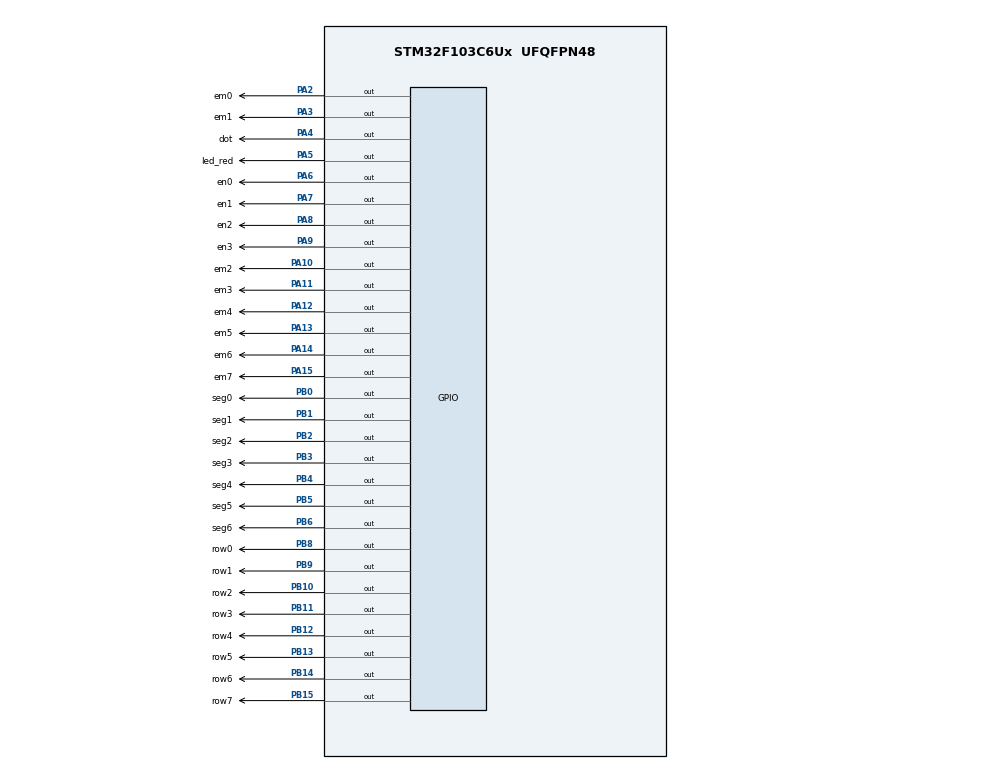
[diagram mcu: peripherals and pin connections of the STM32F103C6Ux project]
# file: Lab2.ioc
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Mcu.Family=STM32F1
Mcu.Name=STM32F103C6Ux
Mcu.Package=UFQFPN48
NVIC.PriorityGroup=NVIC_PRIORITYGROUP_4
NVIC.TIM2_IRQn=true\:0\:0\:false\:false\:true\:true\:true
PA10.GPIO_Label=em2
PA10.Signal=GPIO_Output
PA11.GPIO_Label=em3
PA11.Signal=GPIO_Output
PA12.GPIO_Label=em4
PA12.Signal=GPIO_Output
PA13.GPIO_Label=em5
PA13.Signal=GPIO_Output
PA14.GPIO_Label=em6
PA14.Signal=GPIO_Output
PA15.GPIO_Label=em7
PA15.Signal=GPIO_Output
PA2.GPIO_Label=em0
PA2.Signal=GPIO_Output
PA3.GPIO_Label=em1
PA3.Signal=GPIO_Output
PA4.GPIO_Label=dot
PA4.Signal=GPIO_Output
PA5.GPIO_Label=led_red
PA5.Signal=GPIO_Output
PA6.GPIO_Label=en0
PA6.Signal=GPIO_Output
PA7.GPIO_Label=en1
PA7.Signal=GPIO_Output
PA8.GPIO_Label=en2
PA8.Signal=GPIO_Output
PA9.GPIO_Label=en3
PA9.Signal=GPIO_Output
PB0.GPIO_Label=seg0
PB0.Signal=GPIO_Output
PB1.GPIO_Label=seg1
PB1.Signal=GPIO_Output
PB10.GPIO_Label=row2
PB10.Signal=GPIO_Output
PB11.GPIO_Label=row3
PB11.Signal=GPIO_Output
PB12.GPIO_Label=row4
PB12.Signal=GPIO_Output
PB13.GPIO_Label=row5
PB13.Signal=GPIO_Output
PB14.GPIO_Label=row6
PB14.Signal=GPIO_Output
PB15.GPIO_Label=row7
PB15.Signal=GPIO_Output
PB2.GPIO_Label=seg2
PB2.Signal=GPIO_Output
PB3.GPIO_Label=seg3
PB3.Signal=GPIO_Output
PB4.GPIO_Label=seg4
PB4.Signal=GPIO_Output
PB5.GPIO_Label=seg5
PB5.Signal=GPIO_Output
PB6.GPIO_Label=seg6
PB6.Signal=GPIO_Output
PB8.GPIO_Label=row0
PB8.Signal=GPIO_Output
PB9.GPIO_Label=row1
PB9.Signal=GPIO_Output
ProjectManager.HeapSize=0x200
ProjectManager.StackSize=0x400
ProjectManager.TargetToolchain=STM32CubeIDE
RCC.APB1Freq_Value=8000000
RCC.APB2Freq_Value=8000000
TIM2.Period=9
TIM2.Prescaler=7999
VP_SYS_VS_ND.Mode=No_Debug
VP_TIM2_VS_ClockSourceINT.Mode=Internal
board=custom

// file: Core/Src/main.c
/* USER CODE BEGIN Header */
/**
  ******************************************************************************
  * @file           : main.c
  * @brief          : Main program body
  ******************************************************************************
  * @attention
  *
  * <h2><center>&copy; Copyright (c) 2024 STMicroelectronics.
  * All rights reserved.</center></h2>
  *
  * This software component is licensed by ST under BSD 3-Clause license,
  * the "License"; You may not use this file except in compliance with the
  * License. You may obtain a copy of the License at:
  *                        opensource.org/licenses/BSD-3-Clause
  *
  ******************************************************************************
  */
/* USER CODE END Header */
#include "main.h"

/* USER CODE BEGIN Includes */
#include "functions.h"
#include "software_timer.h"
/* USER CODE END Includes */

TIM_HandleTypeDef htim2;

void SystemClock_Config(void);
static void MX_GPIO_Init(void);
static void MX_TIM2_Init(void);

int main(void)
{

  /* MCU Configuration--------------------------------------------------------*/

  /* Reset of all peripherals, Initializes the Flash interface and the Systick. */
  HAL_Init();

  /* Configure the system clock */
  SystemClock_Config();

  /* Initialize all configured peripherals */
  MX_GPIO_Init();
  MX_TIM2_Init();
  /* USER CODE BEGIN 2 */
  display7seg(0, 0);
  HAL_TIM_Base_Start_IT(&htim2);

  int index = 0;
  int hour = 12, min = 38, sec = 55;
  int TIMEstate = 0;
  int index_matrix = 0;
  int count_dot = 0;
  setTimer1(250);
  int bufferClock[4] = {0,0,0,0};
  updateClockBuffer(bufferClock, hour, min, sec);
  display7seg(0, bufferClock[0]);
  index++;

  setTimer3(20);

//  setTimer(1000);

  /* USER CODE END 2 */

  /* Infinite loop */
  /* USER CODE BEGIN WHILE */
//  setTimer(1000);
  while (1)
  {
///////////////////////////////////////////////////////////////begin of exercise 6////////////////////////////////////////////////////////////////////
//
//	if(timer0_flag == 1){
//		HAL_GPIO_TogglePin(GPIOA, GPIO_PIN_5);
//		setTimer0(2000);
//	  }
//
///////////////////////////////////////////////////////////////begin of exercise 6////////////////////////////////////////////////////////////////////

/////////////////////////////////////////////////////////////begin of exercise 7-8////////////////////////////////////////////////////////////////////
//
//	  if (count_dot == 2)
//	  {
//		  // LED & DOT
//		  HAL_GPIO_TogglePin(GPIOA, GPIO_PIN_4);
//		  HAL_GPIO_TogglePin(GPIOA, GPIO_PIN_5);
//		  count_dot = 0;
//	  }
//
//
//	  if (flags[1] == 1)
//	  {
//		  clearLED();
//		  display7seg(index, bufferClock[index]);
//		  index++;
//		  count_dot++;
//		  setTimer1(250);
//	  }
//
//	  switch(TIMEstate)
//	  {
//		  case 0:
//			  sec++;
//			  setTimer0(1000);
//			  TIMEstate = 1;
//			  break;
//		  case 1:
//			  if (flags[0] == 1)
//			  {
//				  if (sec >= 60)
//				  {
//					  sec = 0;
//					  min++;
//				  }
//				  if (min >= 60)
//				  {
//					  min = 0;
//					  hour++;
//				  }
//				  if (hour >= 24)
//				  {
//					  hour = 0;
//				  }
//				  TIMEstate = 0;
//			  }
//			  break;
//	  }
//
//	  updateClockBuffer(bufferClock, hour, min, sec);
//
//	  if (index >= 4) index = 0;

/////////////////////////////////////////////////////////////end of exercise 7-8////////////////////////////////////////////////////////////////////

/////////////////////////////////////////////////////////////begin of exercise 9-10////////////////////////////////////////////////////////////////////

	  if (flags[3] == 1)
	  {
		  updateLEDMatrix(index_matrix);
		  index_matrix ++;
		  setTimer3(20);
	  }
	  if (index_matrix >= 8 )
	  {
//		  shiftLeft(matrix_buffer);
		  index_matrix = 0;
	  }

/////////////////////////////////////////////////////////////begin of exercise 9-10////////////////////////////////////////////////////////////////////
    /* USER CODE END WHILE */

  }
}

void SystemClock_Config(void)
{
  RCC_OscInitTypeDef RCC_OscInitStruct = {0};
  RCC_ClkInitTypeDef RCC_ClkInitStruct = {0};

  /** Initializes the RCC Oscillators according to the specified parameters
  * in the RCC_OscInitTypeDef structure.
  */
  RCC_OscInitStruct.OscillatorType = RCC_OSCILLATORTYPE_HSI;
  RCC_OscInitStruct.HSIState = RCC_HSI_ON;
  RCC_OscInitStruct.HSICalibrationValue = RCC_HSICALIBRATION_DEFAULT;
  RCC_OscInitStruct.PLL.PLLState = RCC_PLL_NONE;
  if (HAL_RCC_OscConfig(&RCC_OscInitStruct) != HAL_OK)
  {
    Error_Handler();
  }
  /** Initializes the CPU, AHB and APB buses clocks
  */
  RCC_ClkInitStruct.ClockType = RCC_CLOCKTYPE_HCLK|RCC_CLOCKTYPE_SYSCLK
                              |RCC_CLOCKTYPE_PCLK1|RCC_CLOCKTYPE_PCLK2;
  RCC_ClkInitStruct.SYSCLKSource = RCC_SYSCLKSOURCE_HSI;
  RCC_ClkInitStruct.AHBCLKDivider = RCC_SYSCLK_DIV1;
  RCC_ClkInitStruct.APB1CLKDivider = RCC_HCLK_DIV1;
  RCC_ClkInitStruct.APB2CLKDivider = RCC_HCLK_DIV1;

  if (HAL_RCC_ClockConfig(&RCC_ClkInitStruct, FLASH_LATENCY_0) != HAL_OK)
  {
    Error_Handler();
  }
}

static void MX_TIM2_Init(void)
{

  TIM_ClockConfigTypeDef sClockSourceConfig = {0};
  TIM_MasterConfigTypeDef sMasterConfig = {0};

  htim2.Instance = TIM2;
  htim2.Init.Prescaler = 7999;
  htim2.Init.CounterMode = TIM_COUNTERMODE_UP;
  htim2.Init.Period = 9;
  htim2.Init.ClockDivision = TIM_CLOCKDIVISION_DIV1;
  htim2.Init.AutoReloadPreload = TIM_AUTORELOAD_PRELOAD_DISABLE;
  if (HAL_TIM_Base_Init(&htim2) != HAL_OK)
  {
    Error_Handler();
  }
  sClockSourceConfig.ClockSource = TIM_CLOCKSOURCE_INTERNAL;
  if (HAL_TIM_ConfigClockSource(&htim2, &sClockSourceConfig) != HAL_OK)
  {
    Error_Handler();
  }
  sMasterConfig.MasterOutputTrigger = TIM_TRGO_RESET;
  sMasterConfig.MasterSlaveMode = TIM_MASTERSLAVEMODE_DISABLE;
  if (HAL_TIMEx_MasterConfigSynchronization(&htim2, &sMasterConfig) != HAL_OK)
  {
    Error_Handler();
  }

}

static void MX_GPIO_Init(void)
{
  GPIO_InitTypeDef GPIO_InitStruct = {0};

  /* GPIO Ports Clock Enable */
  __HAL_RCC_GPIOA_CLK_ENABLE();
  __HAL_RCC_GPIOB_CLK_ENABLE();

  /*Configure GPIO pin Output Level */
  HAL_GPIO_WritePin(GPIOA, em0_Pin|em1_Pin|dot_Pin|led_red_Pin
                          |en0_Pin|en1_Pin|en2_Pin|en3_Pin
                          |em2_Pin|em3_Pin|em4_Pin|em5_Pin
                          |em6_Pin|em7_Pin, GPIO_PIN_RESET);

  /*Configure GPIO pin Output Level */
  HAL_GPIO_WritePin(GPIOB, seg0_Pin|seg1_Pin|seg2_Pin|row2_Pin
                          |row3_Pin|row4_Pin|row5_Pin|row6_Pin
                          |row7_Pin|seg3_Pin|seg4_Pin|seg5_Pin
                          |seg6_Pin|row0_Pin|row1_Pin, GPIO_PIN_RESET);

  /*Configure GPIO pins : em0_Pin em1_Pin dot_Pin led_red_Pin
                           en0_Pin en1_Pin en2_Pin en3_Pin
                           em2_Pin em3_Pin em4_Pin em5_Pin
                           em6_Pin em7_Pin */
  GPIO_InitStruct.Pin = em0_Pin|em1_Pin|dot_Pin|led_red_Pin
                          |en0_Pin|en1_Pin|en2_Pin|en3_Pin
                          |em2_Pin|em3_Pin|em4_Pin|em5_Pin
                          |em6_Pin|em7_Pin;
  GPIO_InitStruct.Mode = GPIO_MODE_OUTPUT_PP;
  GPIO_InitStruct.Pull = GPIO_NOPULL;
  GPIO_InitStruct.Speed = GPIO_SPEED_FREQ_LOW;
  HAL_GPIO_Init(GPIOA, &GPIO_InitStruct);

  /*Configure GPIO pins : seg0_Pin seg1_Pin seg2_Pin row2_Pin
                           row3_Pin row4_Pin row5_Pin row6_Pin
                           row7_Pin seg3_Pin seg4_Pin seg5_Pin
                           seg6_Pin row0_Pin row1_Pin */
  GPIO_InitStruct.Pin = seg0_Pin|seg1_Pin|seg2_Pin|row2_Pin
                          |row3_Pin|row4_Pin|row5_Pin|row6_Pin
                          |row7_Pin|seg3_Pin|seg4_Pin|seg5_Pin
                          |seg6_Pin|row0_Pin|row1_Pin;
  GPIO_InitStruct.Mode = GPIO_MODE_OUTPUT_PP;
  GPIO_InitStruct.Pull = GPIO_NOPULL;
  GPIO_InitStruct.Speed = GPIO_SPEED_FREQ_LOW;
  HAL_GPIO_Init(GPIOB, &GPIO_InitStruct);

}

/* USER CODE BEGIN 4 */

///////////////////////////////////////////// begin of ex1///////////////////////////////////////////////////////////
//int counter = 100, nth = 0;
//int buffer[2] = {1, 2};
//
//void HAL_TIM_PeriodElapsedCallback (TIM_HandleTypeDef *htim) {
//    counter--;
//    if (counter == 50 || counter == 0) {
//        if (counter == 0) {
//            counter = 100;
//            HAL_GPIO_TogglePin(GPIOA, GPIO_PIN_5);  // Toggle GPIOA PIN 5
//        }
//        // Alternate between 0 and 1 for 'nth'
//        nth = (nth == 0) ? 1 : 0;
//
//        clearLED();  // Clear current display
//
//        // Display the value on the 7-segment display
//        display7seg(nth, buffer[nth]);
//    }
//}
////////////////////////////////////////////// end of ex1////////////////////////////////////////////////////////////

/////////////////////////////////////////////// begin of ex2///////////////////////////////////////////////////////////
//int counter = 100, idx = 0;
//int buffer[4] = {1, 2, 3, 0};
//
//void HAL_TIM_PeriodElapsedCallback(TIM_HandleTypeDef *htim) {
//	counter--;
//
//	if (counter == 50 || counter == 0) {
//		if (counter == 0) {
//			counter = 100;
//			HAL_GPIO_TogglePin(GPIOA, led_red_Pin | dot_Pin);
//		}
//
//		clearLED();
//		display7seg(idx, buffer[idx]);
//
//		idx = (idx + 1) % 4;
//	}
//}
////////////////////////////////////////////////// end of ex2////////////////////////////////////////////////////////////

///////////////////////////////////////////// begin of ex3///////////////////////////////////////////////////////////
//int counter = 100, idx = 0;
//
//void HAL_TIM_PeriodElapsedCallback(TIM_HandleTypeDef *htim) {
//	counter--;
//
//	if (counter == 50 || counter == 0) {
//		if (counter == 0) {
//			counter = 100;
//			HAL_GPIO_TogglePin(GPIOA, led_red_Pin | dot_Pin);
//		}
//
////		clearLED();
//		update7SEG(idx);
//
//		idx = (idx + 1) % 4;
//	}
//}
//////////////////////////////////////////////// end of ex3////////////////////////////////////////////////////////////

/////////////////////////////////////////////// begin of ex4///////////////////////////////////////////////////////////
//
///*
// * inorder to display 1hz for all 4 leds, which means each leds should bright within 250ms
// */
//int counter = 50, idx = 0;
//
//void HAL_TIM_PeriodElapsedCallback(TIM_HandleTypeDef *htim) {
//	counter--;
//
//	if (counter == 25 || counter == 0) {
//		if (counter == 0) {
//			counter = 50;
//			HAL_GPIO_TogglePin(GPIOA, led_red_Pin | dot_Pin);
//		}
//
////		clearLED();
//
//		idx++;
//
//		if (idx >=4)
//		{
//			idx = 0;
//			update7SEG(idx);
//		}
//
//		else update7SEG(idx);
//	}
//}
////////////////////////////////////////////////// end of ex4////////////////////////////////////////////////////////////

///////////////////////////////////////////////// begin of ex5///////////////////////////////////////////////////////////
//
///*
// * inorder to display 1hz for all 4 leds, which means each leds should bright within 250ms
// */
//int counter = 50, idx = 0;
//
//void HAL_TIM_PeriodElapsedCallback(TIM_HandleTypeDef *htim) {
//	counter--;
//	if (idx >=4)
//	{
//		idx = 0;
//		display7seg(0, clock_buffer[0]);
//	}
//
//	if (counter == 25 || counter == 0) {
//		if (counter == 0) {
//			counter = 50;
//			HAL_GPIO_TogglePin(GPIOA, led_red_Pin | dot_Pin);
//		}
//
////		clearLED();
//
//		idx++;
//		display7seg(idx, clock_buffer[idx]);
//	}
//}
//////////////////////////////////////////////////// end of ex5////////////////////////////////////////////////////////////

/////////////////////////////////////////////// begin of ex6-10///////////////////////////////////////////////////////////

/*
 * inorder to display 1hz for all 4 leds, which means each leds should bright within 250ms
 */

void HAL_TIM_PeriodElapsedCallback(TIM_HandleTypeDef *htim) {
	timerRun();
}

////////////////////////////////////////////////// end of ex6-10////////////////////////////////////////////////////////////

/* USER CODE END 4 */

void Error_Handler(void)
{
  __disable_irq();
  while (1)
  {
  }
}

/************************ (C) COPYRIGHT STMicroelectronics *****END OF FILE****/
